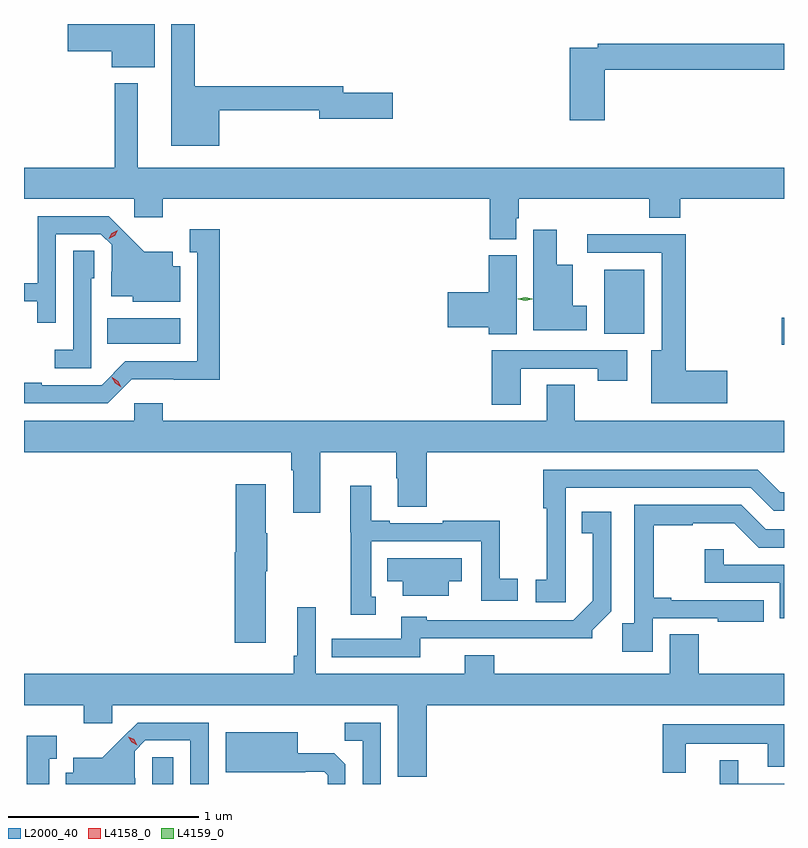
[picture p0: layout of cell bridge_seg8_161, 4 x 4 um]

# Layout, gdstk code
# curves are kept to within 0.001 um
import gdstk
lib = gdstk.Library(unit=1e-6, precision=1e-09)
def R(c, l, rs):  # rectangles x0, y0, x1, y1
    for r in rs: c.add(gdstk.rectangle(r[:2], r[2:], *l))
def P(c, l, *ps):  # polygons
    for p in ps: c.add(gdstk.Polygon(p, *l))
L2000_40 = (2000, 40)
L4158_0 = (4158, 0)
L4159_0 = (4159, 0)

bridge_seg8_161 = lib.new_cell('bridge_seg8_161')
R(bridge_seg8_161, L2000_40, [(529.656,1137.397,529.767,1137.539), (532.968,1139.71,532.981,1139.852), (529.42,1139.714,529.804,1139.848), (532.034,1139.768,532.246,1140.103)])
P(bridge_seg8_161, L2000_40, [(530.008,1140.942),(530.534,1140.942),(530.534,1140.899),(530.923,1140.899),(530.923,1141.034),(530.662,1141.034),(530.662,1141.07),(529.879,1141.07),(529.879,1141.397),(529.757,1141.397),(529.757,1140.755),(530.008,1140.755)],
  [(529.669,1141.397),(529.212,1141.397),(529.212,1141.253),(529.442,1141.253),(529.442,1141.169),(529.669,1141.169)],
  [(532.037,1141.156),(532.981,1141.156),(532.981,1141.292),(532,1141.292),(532,1141.272),(531.854,1141.272),(531.854,1140.891),(532.037,1140.891)],
  [(531.571,1140.375),(531.584,1140.375),(531.584,1140.476),(532.271,1140.476),(532.271,1140.377),(532.436,1140.377),(532.436,1140.476),(532.981,1140.476),(532.981,1140.64),(529.579,1140.64),(529.579,1141.084),(529.458,1141.084),(529.458,1140.64),(528.981,1140.64),(528.981,1140.476),(529.56,1140.476),(529.56,1140.381),(529.712,1140.381),(529.712,1140.476),(531.431,1140.476),(531.431,1140.265),(531.571,1140.265)],
  [(529.149,1140.291),(529.386,1140.291),(529.443,1140.234),(529.443,1140.092),(529.439,1140.092),(529.439,1139.963),(529.554,1139.963),(529.554,1139.936),(529.804,1139.936),(529.804,1140.121),(529.765,1140.121),(529.765,1140.199),(529.613,1140.199),(529.426,1140.384),(529.053,1140.384),(529.053,1140.033),(528.981,1140.033),(528.981,1139.937),(529.051,1139.937),(529.051,1139.824),(529.149,1139.824)],
  [(529.548,1139.526),(530.011,1139.525),(530.011,1140.316),(529.853,1140.316),(529.853,1140.195),(529.892,1140.195),(529.892,1139.622),(529.515,1139.622),(529.389,1139.496),(529.075,1139.496),(529.075,1139.509),(528.981,1139.509),(528.981,1139.4),(529.422,1139.4)],
  [(531.943,1139.914),(531.868,1139.914),(531.868,1140.13),(531.784,1140.13),(531.784,1140.313),(531.662,1140.313),(531.662,1139.786),(531.943,1139.786)],
  [(532.681,1139.573),(532.463,1139.573),(532.463,1140.29),(531.945,1140.29),(531.945,1140.192),(532.337,1140.192),(532.337,1139.68),(532.283,1139.68),(532.283,1139.402),(532.681,1139.402)],
  [(529.335,1140.06),(529.35,1140.06),(529.35,1140.203),(529.239,1140.203),(529.239,1139.683),(529.143,1139.683),(529.143,1139.586),(529.335,1139.586)],
  [(531.574,1140.18),(531.428,1140.18),(531.428,1139.984),(531.21,1139.984),(531.21,1139.801),(531.428,1139.801),(531.428,1139.764),(531.574,1139.764)],
  [(531.595,1139.583),(532,1139.583),(532,1139.52),(532.156,1139.52),(532.156,1139.679),(531.443,1139.679),(531.443,1139.394),(531.595,1139.394)],
  [(530.539,1139.144),(530.941,1139.144),(530.941,1139.006),(530.948,1139.006),(530.948,1138.855),(531.101,1138.855),(531.101,1139.144),(532.981,1139.144),(532.981,1139.308),(531.879,1139.308),(531.879,1139.498),(531.731,1139.498),(531.731,1139.308),(529.712,1139.308),(529.712,1139.401),(529.56,1139.401),(529.56,1139.308),(528.981,1139.308),(528.981,1139.144),(530.387,1139.144),(530.387,1139.048),(530.399,1139.048),(530.399,1138.824),(530.539,1138.824)],
  [(531.832,1138.628),(531.831,1138.956),(532.806,1138.956),(532.926,1138.836),(532.981,1138.836),(532.981,1138.932),(532.962,1138.932),(532.842,1139.052),(531.715,1139.052),(531.715,1138.849),(531.733,1138.849),(531.733,1138.473),(531.675,1138.473),(531.675,1138.353),(531.832,1138.353)],
  [(530.254,1138.517),(530.262,1138.517),(530.262,1138.717),(530.254,1138.717),(530.254,1138.975),(530.096,1138.975),(530.096,1138.617),(530.09,1138.617),(530.09,1138.14),(530.254,1138.14)],
  [(530.833,1138.383),(530.808,1138.383),(530.808,1138.674),(531.387,1138.674),(531.387,1138.362),(531.58,1138.362),(531.58,1138.478),(531.486,1138.478),(531.486,1138.783),(531.184,1138.783),(531.184,1138.77),(530.905,1138.77),(530.905,1138.783),(530.809,1138.783),(530.809,1138.966),(530.699,1138.966),(530.699,1138.721),(530.7,1138.721),(530.7,1138.289),(530.833,1138.289)],
  [(532.29,1138.269),(532.631,1138.269),(532.631,1138.25),(532.874,1138.25),(532.874,1138.365),(532.387,1138.365),(532.387,1138.378),(532.295,1138.378),(532.295,1138.758),(532.502,1138.758),(532.502,1138.769),(532.72,1138.769),(532.848,1138.641),(532.981,1138.641),(532.981,1138.737),(532.884,1138.737),(532.755,1138.866),(532.194,1138.866),(532.194,1138.243),(532.129,1138.243),(532.129,1138.092),(532.29,1138.092)],
  [(531.066,1138.164),(531.972,1138.163),(531.972,1138.207),(532.071,1138.306),(532.071,1138.831),(531.916,1138.831),(531.916,1138.718),(531.974,1138.718),(531.974,1138.361),(531.873,1138.26),(531.102,1138.26),(531.102,1138.276),(530.966,1138.276),(530.966,1138.161),(530.602,1138.161),(530.602,1138.065),(531.066,1138.065)],
  [(532.981,1138.551),(532.665,1138.551),(532.665,1138.633),(532.564,1138.633),(532.564,1138.455),(532.959,1138.455),(532.959,1138.269),(532.981,1138.269)],
  [(531.217,1138.463),(531.286,1138.463),(531.286,1138.585),(530.893,1138.585),(530.893,1138.463),(530.975,1138.463),(530.975,1138.388),(531.217,1138.388)],
  [(530.948,1137.434),(531.101,1137.434),(531.101,1137.812),(532.981,1137.812),(532.981,1137.976),(532.532,1137.976),(532.532,1138.184),(532.379,1138.184),(532.379,1137.976),(531.455,1137.976),(531.455,1138.075),(531.302,1138.075),(531.302,1137.976),(530.517,1137.976),(530.517,1138.327),(530.42,1138.327),(530.42,1138.072),(530.401,1138.072),(530.401,1137.976),(528.981,1137.976),(528.981,1137.812),(529.295,1137.812),(529.295,1137.717),(529.446,1137.717),(529.446,1137.812),(530.948,1137.812)],
  [(529.567,1137.428),(529.563,1137.428),(529.563,1137.57),(529.62,1137.627),(529.857,1137.627),(529.857,1137.397),(529.953,1137.397),(529.953,1137.72),(529.58,1137.72),(529.393,1137.535),(529.241,1137.535),(529.241,1137.457),(529.202,1137.457),(529.202,1137.397),(529.567,1137.397)],
  [(530.859,1137.72),(530.668,1137.72),(530.668,1137.625),(530.763,1137.625),(530.763,1137.397),(530.859,1137.397)],
  [(532.465,1137.608),(532.895,1137.608),(532.895,1137.489),(532.981,1137.489),(532.981,1137.712),(532.344,1137.712),(532.344,1137.456),(532.465,1137.456)],
  [(530.673,1137.5),(530.614,1137.559),(530.422,1137.559),(530.422,1137.67),(530.042,1137.67),(530.042,1137.458),(530.462,1137.458),(530.462,1137.462),(530.562,1137.462),(530.58,1137.444),(530.58,1137.397),(530.673,1137.397)],
  [(529.114,1137.531),(529.153,1137.531),(529.153,1137.652),(528.996,1137.652),(528.996,1137.397),(529.114,1137.397)],
  [(532.981,1137.399),(532.741,1137.399),(532.741,1137.523),(532.643,1137.523),(532.643,1137.397),(532.981,1137.397)])
P(bridge_seg8_161, L4158_0, [(529.578,1137.602),(529.547,1137.617),(529.53,1137.646),(529.53,1137.646),(529.53,1137.646),(529.561,1137.632),(529.578,1137.602),(529.578,1137.602)],
  [(529.492,1139.485),(529.461,1139.505),(529.444,1139.538),(529.444,1139.538),(529.445,1139.538),(529.476,1139.518),(529.493,1139.486),(529.493,1139.485)],
  [(529.427,1140.267),(529.427,1140.267),(529.444,1140.297),(529.474,1140.312),(529.475,1140.312),(529.475,1140.312),(529.458,1140.282),(529.427,1140.267)])
P(bridge_seg8_161, L4159_0, [(531.619,1139.94),(531.581,1139.949),(531.58,1139.95),(531.581,1139.95),(531.619,1139.96),(531.657,1139.95),(531.657,1139.95),(531.657,1139.949)])

lib.write_gds('bridge_seg8_161.gds')
